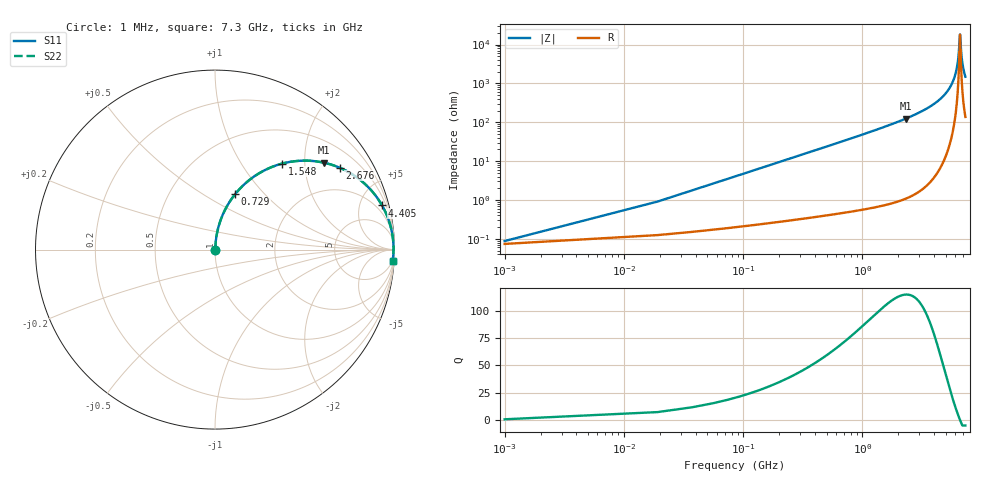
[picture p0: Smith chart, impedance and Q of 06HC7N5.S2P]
! Coilcraft 0603HC-7N5 Chip Inductor
! 03 June 2002
# MHZ S MA R 50
!Freq  MagS11  AngS11  MagS21  AngS21  MagS12  AngS12  MagS22  AngS22
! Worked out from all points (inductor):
!   403 points, 1 MHz to 7.3 GHz, reference 50 ohm
!   read as one part in series: L = 7.5 nH near 37.4 MHz
!   highest Q = 115 at 2.312 GHz (marker M1), where L = 8.56 nH
!   self-resonance near 6.571 GHz
!   S11 on the Smith chart (normalised r, x): 1 MHz: 1.00, +0.00; 729 MHz: 1.01, +0.70; 1.548 GHz: 1.01, +1.54; 2.676 GHz: 1.03, +3.02; 4.405 GHz: 1.12, +7.52; 7.3 GHz: 4, -30
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1  0.0008775 32.4  0.9993 -0.0  0.9993 -0.0  0.0008775 32.4
55.6  0.0262 84.8  0.9979 -1.5  0.9979 -1.5  0.0262 84.8
92  0.04328 84.8  0.997 -2.5  0.997 -2.5  0.04328 84.8
146.6  0.06883 84.1  0.9952 -3.9  0.9952 -3.9  0.06883 84.1
365  0.1695 79.1  0.9821 -9.8  0.9821 -9.8  0.1695 79.1
729  0.3271 70.1  0.9405 -19.1  0.9405 -19.1  0.3271 70.1
1220.4  0.5094 58.8  0.8552 -30.6  0.8552 -30.6  0.5094 58.8
1548  0.6084 52.0  0.7878 -37.5  0.7878 -37.5  0.6084 52.0
2312.4  0.7759 38.6  0.6241 -50.9  0.6241 -50.9  0.7759 38.6
2439.8  0.7966 36.7  0.5976 -52.8  0.5976 -52.8  0.7966 36.7
2676.4  0.8306 33.3  0.5496 -56.2  0.5496 -56.2  0.8306 33.3
3659.2  0.9247 21.7  0.3705 -67.6  0.3705 -67.6  0.9247 21.7
4405.4  0.9626 14.8  0.2559 -74.3  0.2559 -74.3  0.9626 14.8
4878.6  0.9773 11.0  0.1915 -77.7  0.1915 -77.7  0.9773 11.0
5606.6  0.9901 5.9  0.1028 -81.5  0.1028 -81.5  0.9901 5.9
6098  0.9938 2.8  0.04912 -81.4  0.04912 -81.4  0.9938 2.8
6352.8  0.9946 1.3  0.0232 -75.8  0.0232 -75.8  0.9946 1.3
6553  0.9946 0.2  0.006022 -26.6  0.006022 -26.6  0.9946 0.2
6589.4  0.9946 -0.0  0.005478 8.8  0.005478 8.8  0.9946 -0.0
6735  0.9943 -0.9  0.01586 68.6  0.01586 68.6  0.9943 -0.9
6862.4  0.994 -1.5  0.02746 76.5  0.02746 76.5  0.994 -1.5
7300  0.9916 -3.8  0.06673 80.9  0.06673 80.9  0.9916 -3.8
